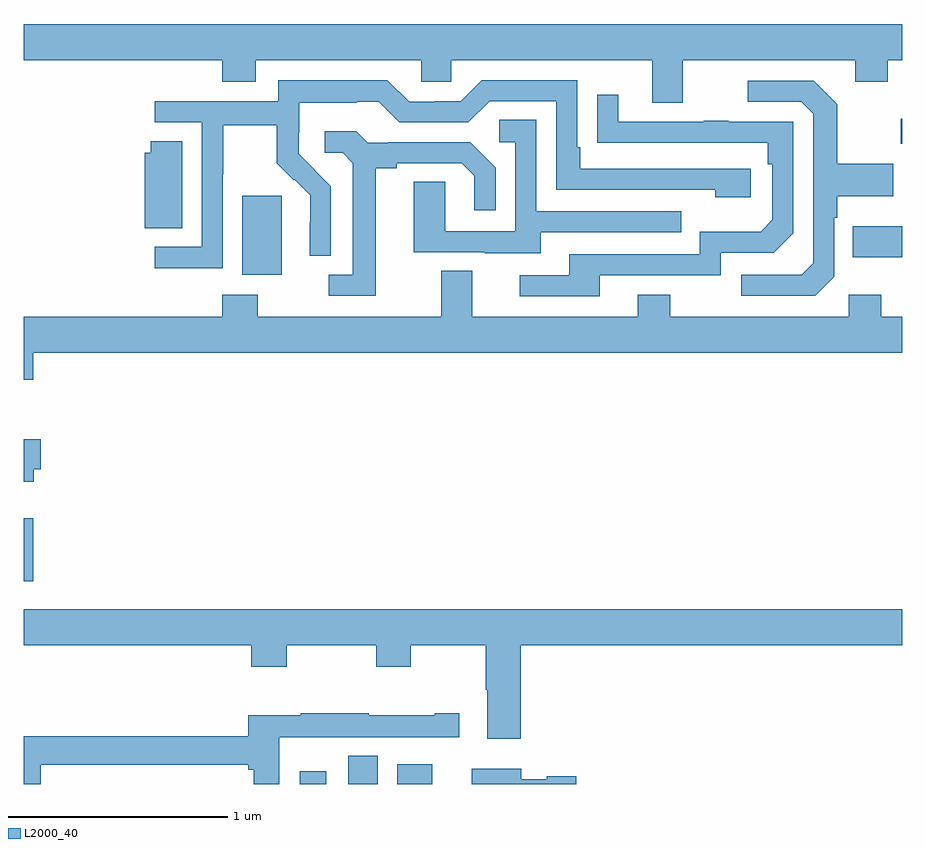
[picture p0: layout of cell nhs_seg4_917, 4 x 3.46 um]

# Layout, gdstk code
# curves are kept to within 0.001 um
import gdstk
lib = gdstk.Library(unit=1e-6, precision=1e-09)
def R(c, l, rs):  # rectangles x0, y0, x1, y1
    for r in rs: c.add(gdstk.rectangle(r[:2], r[2:], *l))
def P(c, l, *ps):  # polygons
    for p in ps: c.add(gdstk.Polygon(p, *l))
L2000_40 = (2000, 40)

nhs_seg4_917 = lib.new_cell('nhs_seg4_917')
R(nhs_seg4_917, L2000_40, [(160.256,750.9,160.378,750.958), (160.478,750.9,160.612,751.028), (160.7,750.9,160.861,750.991), (159,751.824,159.044,752.11), (159.995,753.218,160.174,753.579), (162.775,753.299,163,753.439), (162.993,753.815,163,753.928)])
P(nhs_seg4_917, L2000_40, [(162.001,754.196),(162.785,754.196),(162.785,754.097),(162.933,754.097),(162.933,754.196),(163,754.196),(163,754.36),(159,754.36),(159,754.196),(159.905,754.196),(159.905,754.097),(160.057,754.097),(160.057,754.196),(160.809,754.196),(160.809,754.098),(160.947,754.098),(160.947,754.196),(161.861,754.196),(161.861,754.002),(162.001,754.002)],
  [(159.906,753.676),(159.909,753.676),(159.909,753.9),(160.153,753.9),(160.153,753.725),(160.23,753.648),(160.233,753.651),(160.304,753.581),(160.304,753.458),(160.302,753.458),(160.302,753.304),(160.398,753.304),(160.398,753.622),(160.252,753.77),(160.252,753.867),(160.254,753.867),(160.254,754.001),(160.517,754.001),(160.517,754.005),(160.617,754.005),(160.71,753.912),(161.025,753.912),(161.121,754.008),(161.424,754.008),(161.424,753.606),(162.149,753.606),(162.149,753.572),(162.31,753.572),(162.31,753.702),(161.533,753.702),(161.533,753.799),(161.52,753.799),(161.52,754.104),(161.085,754.104),(160.989,754.008),(160.871,754.008),(160.871,754.005),(160.755,754.005),(160.655,754.105),(160.158,754.105),(160.158,754.008),(159.597,754.008),(159.597,753.912),(159.81,753.912),(159.81,753.345),(159.597,753.345),(159.597,753.247),(159.906,753.247)],
  [(162.69,753.21),(162.69,753.479),(162.703,753.479),(162.703,753.575),(162.959,753.575),(162.959,753.723),(162.703,753.723),(162.703,753.995),(162.597,754.101),(162.297,754.101),(162.297,754.005),(162.54,754.005),(162.594,753.951),(162.594,753.27),(162.543,753.219),(162.267,753.219),(162.267,753.123),(162.603,753.123)],
  [(161.623,753.216),(162.174,753.216),(162.174,753.318),(162.414,753.318),(162.504,753.408),(162.504,753.915),(162.209,753.915),(162.209,753.92),(162.097,753.92),(162.097,753.915),(161.707,753.915),(161.707,754.039),(161.611,754.039),(161.611,753.82),(162.388,753.819),(162.388,753.722),(162.408,753.722),(162.408,753.468),(162.355,753.415),(162.078,753.415),(162.078,753.312),(161.483,753.312),(161.483,753.216),(161.259,753.216),(161.259,753.12),(161.623,753.12)],
  [(161.353,753.411),(161.993,753.411),(161.993,753.507),(161.334,753.507),(161.334,753.923),(161.166,753.923),(161.166,753.822),(161.238,753.822),(161.238,753.417),(160.92,753.417),(160.92,753.641),(160.775,753.641),(160.775,753.321),(161.099,753.321),(161.099,753.317),(161.353,753.317)],
  [(160.603,753.704),(160.699,753.704),(160.699,753.726),(160.994,753.726),(161.051,753.669),(161.051,753.513),(161.148,753.513),(161.148,753.706),(161.032,753.822),(160.66,753.822),(160.66,753.819),(160.566,753.819),(160.514,753.871),(160.371,753.871),(160.371,753.774),(160.452,753.774),(160.499,753.727),(160.499,753.219),(160.389,753.219),(160.389,753.123),(160.603,753.123)],
  [(159.721,753.827),(159.578,753.827),(159.578,753.774),(159.551,753.774),(159.551,753.43),(159.721,753.43)],
  [(159.044,752.864),(163,752.864),(163,753.028),(162.903,753.028),(162.903,753.127),(162.756,753.127),(162.756,753.028),(161.943,753.028),(161.943,753.127),(161.795,753.127),(161.795,753.028),(161.041,753.028),(161.041,753.236),(160.901,753.236),(160.901,753.028),(160.065,753.028),(160.065,753.127),(159.905,753.127),(159.905,753.028),(159,753.028),(159,752.74),(159.044,752.74)],
  [(159.046,752.334),(159.077,752.334),(159.077,752.47),(159,752.47),(159,752.276),(159.046,752.276)],
  [(161.264,751.532),(163,751.532),(163,751.696),(159,751.696),(159,751.532),(160.037,751.532),(160.037,751.433),(160.197,751.433),(160.197,751.532),(160.606,751.532),(160.606,751.433),(160.761,751.433),(160.761,751.532),(161.104,751.532),(161.104,751.328),(161.111,751.328),(161.111,751.107),(161.264,751.107)],
  [(159.077,750.988),(160.022,750.988),(160.022,750.965),(160.048,750.965),(160.048,750.9),(160.164,750.9),(160.164,751.112),(160.374,751.112),(160.374,751.113),(160.984,751.113),(160.984,751.222),(160.871,751.222),(160.871,751.212),(160.571,751.212),(160.571,751.222),(160.261,751.222),(160.261,751.212),(160.022,751.212),(160.022,751.117),(159,751.117),(159,750.9),(159.077,750.9)],
  [(161.515,750.935),(161.382,750.935),(161.382,750.922),(161.266,750.922),(161.266,750.97),(161.039,750.97),(161.039,750.9),(161.515,750.9)])

lib.write_gds('nhs_seg4_917.gds')
